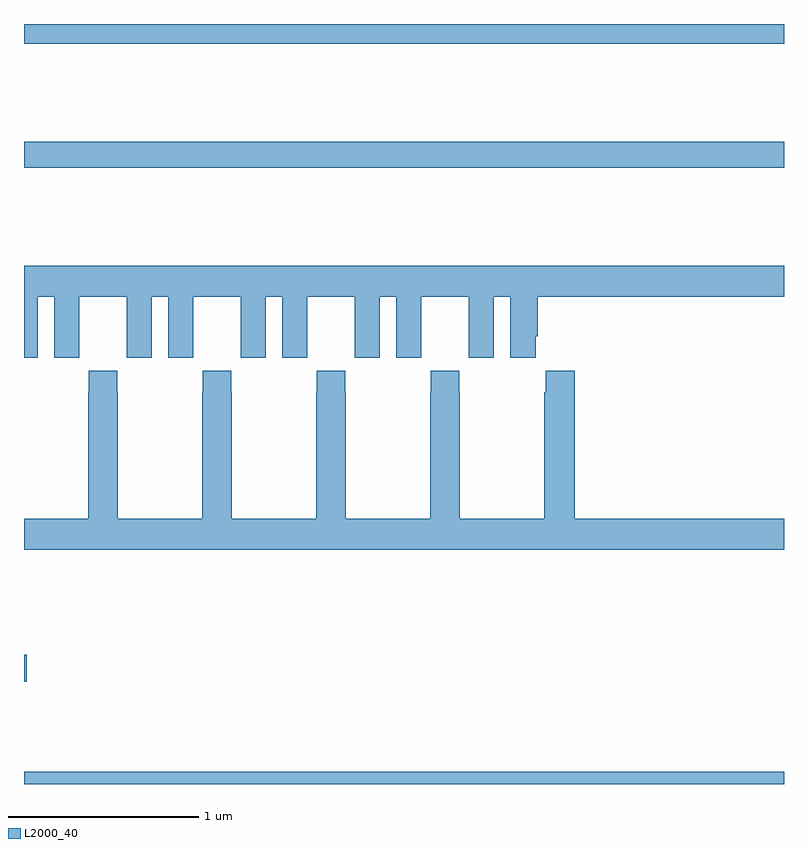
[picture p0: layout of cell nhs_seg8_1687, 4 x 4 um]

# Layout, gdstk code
import gdstk
lib = gdstk.Library(unit=1e-6, precision=1e-09)
def R(c, l, rs):  # rectangles x0, y0, x1, y1
    for r in rs: c.add(gdstk.rectangle(r[:2], r[2:], *l))
def P(c, l, *ps):  # polygons
    for p in ps: c.add(gdstk.Polygon(p, *l))
L2000_40 = (2000, 40)

nhs_seg8_1687 = lib.new_cell('nhs_seg8_1687')
R(nhs_seg8_1687, L2000_40, [(217,1149.9,221,1149.964), (217,1150.438,217.015,1150.58), (217,1153.144,221,1153.28), (217,1153.796,221,1153.9)])
P(nhs_seg8_1687, L2000_40, [(217.072,1152.464),(217.16,1152.464),(217.16,1152.144),(217.29,1152.144),(217.29,1152.256),(217.291,1152.256),(217.291,1152.464),(217.541,1152.464),(217.541,1152.256),(217.542,1152.256),(217.542,1152.144),(217.672,1152.144),(217.672,1152.464),(217.76,1152.464),(217.76,1152.144),(217.89,1152.144),(217.89,1152.256),(217.891,1152.256),(217.891,1152.464),(218.141,1152.464),(218.141,1152.256),(218.142,1152.256),(218.142,1152.144),(218.272,1152.144),(218.272,1152.464),(218.36,1152.464),(218.36,1152.144),(218.49,1152.144),(218.49,1152.256),(218.491,1152.256),(218.491,1152.464),(218.741,1152.464),(218.741,1152.256),(218.742,1152.256),(218.742,1152.144),(218.872,1152.144),(218.872,1152.464),(218.96,1152.464),(218.96,1152.144),(219.09,1152.144),(219.09,1152.256),(219.091,1152.256),(219.091,1152.464),(219.341,1152.464),(219.341,1152.256),(219.342,1152.256),(219.342,1152.144),(219.472,1152.144),(219.472,1152.464),(219.56,1152.464),(219.56,1152.144),(219.694,1152.144),(219.694,1152.256),(219.704,1152.256),(219.704,1152.464),(221,1152.464),(221,1152.628),(217,1152.628),(217,1152.144),(217.072,1152.144)],
  [(219.745,1152.076),(219.745,1151.963),(219.739,1151.963),(219.739,1151.296),(219.294,1151.296),(219.294,1151.963),(219.291,1151.963),(219.291,1152.076),(219.141,1152.076),(219.141,1151.963),(219.139,1151.963),(219.139,1151.296),(218.694,1151.296),(218.694,1151.963),(218.691,1151.963),(218.691,1152.076),(218.541,1152.076),(218.541,1151.963),(218.539,1151.963),(218.539,1151.296),(218.094,1151.296),(218.094,1151.963),(218.091,1151.963),(218.091,1152.076),(217.941,1152.076),(217.941,1151.963),(217.939,1151.963),(217.939,1151.296),(217.494,1151.296),(217.494,1151.963),(217.491,1151.963),(217.491,1152.076),(217.341,1152.076),(217.341,1151.963),(217.339,1151.963),(217.339,1151.296),(217,1151.296),(217,1151.132),(221,1151.132),(221,1151.296),(219.899,1151.296),(219.899,1152.076)])

lib.write_gds('nhs_seg8_1687.gds')
